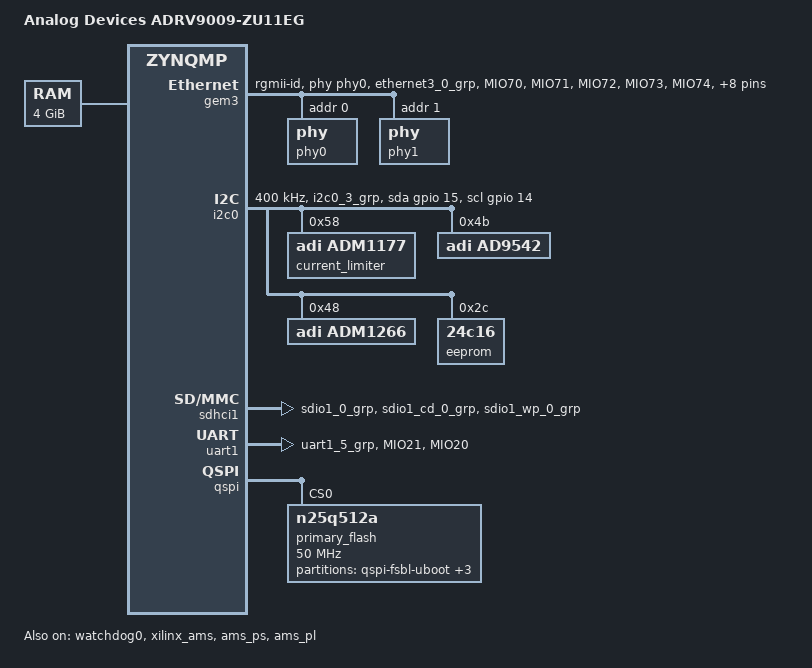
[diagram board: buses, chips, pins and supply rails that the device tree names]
// SPDX-License-Identifier: GPL-2.0+
/*
 * dts file for ADRV9009-ZU11EG System on Module
 *
 * Copyright (C) 2019-2026 Analog Devices Inc.
 */

/dts-v1/;

#include "zynqmp.dtsi"
#include "zynqmp-clk-ccf.dtsi"
#include <dt-bindings/input/input.h>
#include <dt-bindings/gpio/gpio.h>
#include <dt-bindings/pinctrl/pinctrl-zynqmp.h>
#include <dt-bindings/phy/phy.h>

/ {
	model = "Analog Devices ADRV9009-ZU11EG";
	compatible = "xlnx,zynqmp";

	aliases {
		ethernet0 = &gem3;
		ethernet1 = &gem0;
		gpio0 = &gpio;
		i2c0 = &i2c0;
		i2c1 = &i2c1;
		mmc0 = &sdhci1;
		rtc0 = &rtc;
		serial0 = &uart0;
		serial1 = &uart1;
		serial2 = &dcc;
		spi0 = &qspi;
		usb0 = &usb0;
	};

	chosen {
		bootargs = "earlycon";
		stdout-path = "serial1:115200n8";
	};

	memory@0 {
		device_type = "memory";
		reg = <0x0 0x0 0x0 0x80000000>, <0x8 0x00000000 0x0 0x80000000>;
	};
};

&gem3 {
	status = "okay";
	phy-handle = <&phy0>;
	phy-mode = "rgmii-id";
	pinctrl-names = "default";
	pinctrl-0 = <&pinctrl_gem3_default>;
	phy0: phy@0 {
		device_type = "ethernet-phy";
		reg = <0x0>;
		marvell,reg-init = <3 16 0xff00 0x1e 3 17 0xfff0 0x00>;
	};
	phy1: phy@1 {
		device_type = "ethernet-phy";
		reg = <1>;
	};
};

&gpio {
	status = "okay";
	pinctrl-names = "default";
	pinctrl-0 = <&pinctrl_gpio_default>;
};

&i2c0 {
	status = "okay";
	clock-frequency = <400000>;
	pinctrl-names = "default", "gpio";
	pinctrl-0 = <&pinctrl_i2c0_default>;
	pinctrl-1 = <&pinctrl_i2c0_gpio>;
	scl-gpios = <&gpio 14 GPIO_ACTIVE_HIGH>;
	sda-gpios = <&gpio 15 GPIO_ACTIVE_HIGH>;

	current_limiter@58 { /* U12 */
		compatible = "adi,adm1177";
		reg = <0x58>;
		adi,r-sense-mohm = <10>; /* 10 mOhm */
		adi,shutdown-threshold-ma = <10000>; /* 10 A */
		adi,vrange-high-enable;
	};

	ad9542@4b {
		compatible = "adi,ad9542";
		reg = <0x4b>;
	};

	adm1266@48 {
		compatible = "adi,adm1266";
		reg = <0x48>;
	};

	eeprom@2c { /* U49 */
		compatible = "24c16";
		reg = <0x2c>;
	};
};

&sdhci1 {
	status = "okay";
	pinctrl-names = "default";
	pinctrl-0 = <&pinctrl_sdhci1_default>;
	no-1-8-v;
	xlnx,mio_bank = <1>;
};

&uart1 {
	status = "okay";
	pinctrl-names = "default";
	pinctrl-0 = <&pinctrl_uart1_default>;
};

&watchdog0 {
	status = "okay";
};

&xilinx_ams {
	status = "okay";
};

&ams_ps {
	status = "okay";
};

&ams_pl {
	status = "okay";
};

&qspi {
	status = "okay";
	is-dual = <1>;
	num-cs = <1>;
	primary_flash: qspi@0 {
		#address-cells = <1>;
		#size-cells = <1>;
		spi-tx-bus-width = <1>;
		spi-rx-bus-width = <4>;
		compatible = "n25q512a", "jedec,spi-nor";
		reg = <0x0>;
		spi-max-frequency = <50000000>;
		partition@qspi-fsbl-uboot {
			label = "qspi-fsbl-uboot";
			reg = <0x0 0x2000000>; /* 32M */
		};
		partition@qspi-uboot-env {
			label = "qspi-uboot-env";
			reg = <0x2000000 0x20000>; /* 128k */
		};
		partition@qspi-nvmfs {
			label = "qspi-nvmfs";
			reg = <0x2020000 0xE0000>; /* 1M */
		};
		partition@qspi-linux {
			label = "qspi-linux";
			reg = <0x2100000 0x5E00000>; /* 94M */
		};
	};
};

/*
 * SPI0: ADRV9009 transceivers and HMC7044 clock distribution
 * omitted for u-boot - these are Linux FPGA IP drivers that
 * reference JESD204 and clock nodes not present in upstream
 * zynqmp.dtsi. See the Linux kernel DTS for the full config.
 */


&pinctrl0 {
	status = "okay";

	pinctrl_i2c0_default: i2c0-default {
		mux {
			groups = "i2c0_3_grp";
			function = "i2c0";
		};

		conf {
			groups = "i2c0_3_grp";
			bias-pull-up;
			slew-rate = <SLEW_RATE_SLOW>;
			io-standard = <IO_STANDARD_LVCMOS18>;
		};
	};

	pinctrl_i2c0_gpio: i2c0-gpio {
		mux {
			groups = "gpio0_14_grp", "gpio0_15_grp";
			function = "gpio0";
		};

		conf {
			groups = "gpio0_14_grp", "gpio0_15_grp";
			slew-rate = <SLEW_RATE_SLOW>;
			io-standard = <IO_STANDARD_LVCMOS18>;
		};
	};

	pinctrl_i2c1_gpio: i2c1-gpio {
		mux {
			groups = "gpio0_32_grp", "gpio0_33_grp";
			function = "gpio0";
		};

		conf {
			groups = "gpio0_32_grp", "gpio0_33_grp";
			slew-rate = <SLEW_RATE_SLOW>;
			io-standard = <IO_STANDARD_LVCMOS18>;
		};
	};

	pinctrl_uart1_default: uart1-default {
		mux {
			groups = "uart1_5_grp";
			function = "uart1";
		};

		conf {
			groups = "uart1_5_grp";
			slew-rate = <SLEW_RATE_SLOW>;
			io-standard = <IO_STANDARD_LVCMOS18>;
		};

		conf-rx {
			pins = "MIO21";
			bias-high-impedance;
		};

		conf-tx {
			pins = "MIO20";
			bias-disable;
		};
	};

	pinctrl_gem3_default: gem3-default {
		mux {
			function = "ethernet3";
			groups = "ethernet3_0_grp";
		};

		conf {
			groups = "ethernet3_0_grp";
			slew-rate = <SLEW_RATE_SLOW>;
			io-standard = <IO_STANDARD_LVCMOS18>;
		};

		conf-rx {
			pins = "MIO70", "MIO71", "MIO72", "MIO73", "MIO74",
									"MIO75";
			bias-high-impedance;
			low-power-disable;
		};

		conf-tx {
			pins = "MIO64", "MIO65", "MIO66", "MIO67", "MIO68",
									"MIO69";
			bias-disable;
			low-power-enable;
		};

		mux-mdio {
			function = "mdio3";
			groups = "mdio3_0_grp";
		};

		conf-mdio {
			groups = "mdio3_0_grp";
			slew-rate = <SLEW_RATE_SLOW>;
			io-standard = <IO_STANDARD_LVCMOS18>;
			bias-disable;
		};
	};

	pinctrl_sdhci1_default: sdhci1-default {
		mux {
			groups = "sdio1_0_grp";
			function = "sdio1";
		};

		conf {
			groups = "sdio1_0_grp";
			slew-rate = <SLEW_RATE_SLOW>;
			io-standard = <IO_STANDARD_LVCMOS18>;
			bias-disable;
		};

		mux-cd {
			groups = "sdio1_cd_0_grp";
			function = "sdio1_cd";
		};

		conf-cd {
			groups = "sdio1_cd_0_grp";
			bias-high-impedance;
			bias-pull-up;
			slew-rate = <SLEW_RATE_SLOW>;
			io-standard = <IO_STANDARD_LVCMOS18>;
		};

		mux-wp {
			groups = "sdio1_wp_0_grp";
			function = "sdio1_wp";
		};

		conf-wp {
			groups = "sdio1_wp_0_grp";
			bias-high-impedance;
			bias-pull-up;
			slew-rate = <SLEW_RATE_SLOW>;
			io-standard = <IO_STANDARD_LVCMOS18>;
		};
	};

	pinctrl_gpio_default: gpio-default {
		mux-usbsw {
			function = "gpio0";
			groups = "gpio0_35_grp", "gpio0_36_grp", "gpio0_37_grp", "gpio0_38_grp";
		};

		conf-usbsw {
			groups = "gpio0_35_grp", "gpio0_36_grp", "gpio0_37_grp", "gpio0_38_grp";
			slew-rate = <SLEW_RATE_SLOW>;
			io-standard = <IO_STANDARD_LVCMOS18>;
		};
	};

	pinctrl_usb0_default: usb0-default {
		mux {
			groups = "usb0_0_grp";
			function = "usb0";
		};

		conf {
			groups = "usb0_0_grp";
			slew-rate = <SLEW_RATE_SLOW>;
			io-standard = <IO_STANDARD_LVCMOS18>;
		};

		conf-rx {
			pins = "MIO52", "MIO53", "MIO55";
			bias-high-impedance;
		};

		conf-tx {
			pins = "MIO54", "MIO56", "MIO57", "MIO58", "MIO59",
			"MIO60", "MIO61", "MIO62", "MIO63";
			bias-disable;
		};
	};
};

/*
 * FPGA AXI bus with ADRV9009 JESD204, DMA, and IP cores
 * omitted - not needed for u-boot, and references Xilinx
 * vendor clock labels not present in upstream zynqmp.dtsi.
 * See the Linux kernel DTS for the full FPGA overlay.
 */
